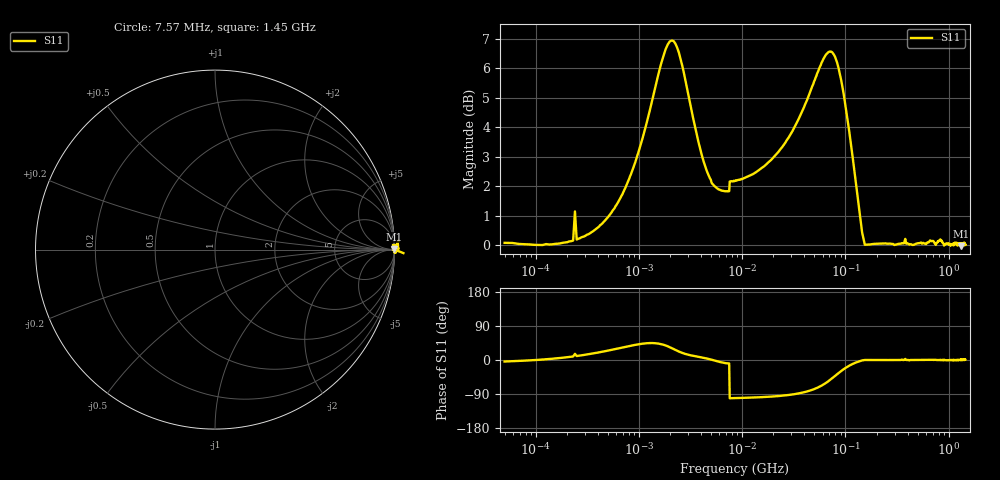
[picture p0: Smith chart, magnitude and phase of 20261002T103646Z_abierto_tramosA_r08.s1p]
! piloto_saltos / abierto_tramosA / r08
# HZ S RI R 50
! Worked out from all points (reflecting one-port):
!   501 points, 50 kHz to 1.45 GHz, reference 50 ohm
!   lowest |S11| = 0.0 dB at 1.315 GHz (marker M1), VSWR 449.34, Z = 1.41e+04 + j1.09e+04 ohm
!   phase of S11 starts at -4 deg and turns +5 deg over the sweep
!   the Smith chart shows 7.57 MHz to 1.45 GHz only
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50000  1.006 -0.0704
183000  1.003 0.106
354000  1.008 0.3085
658000  1.021 0.6296
1180000  1.151 1.117
1630000  1.504 1.354
1990000  1.843 1.229
2440000  1.961 0.8023
3340000  1.614 0.3167
4690000  1.315 0.0687
7300000  1.219 -0.1924
7750000  -0.241 -1.26
8560000  -0.2342 -1.264
1.81e7  -0.1678 -1.373
3.16e7  -0.0118 -1.577
4.69e7  0.3378 -1.812
5.68e7  0.6975 -1.885
6.49e7  1.045 -1.828
7.39e7  1.401 -1.598
8.65e7  1.649 -1.098
9.82e7  1.628 -0.6741
1e8  1.61 -0.6196
1.18e8  1.378 -0.2447
1.36e8  1.148 -0.069
1.63e8  1.002 -3e-05
4.06e8  1.005 0.000762
1.315e9  0.9956 0.00342
1.45e9  1.001 0.0134
